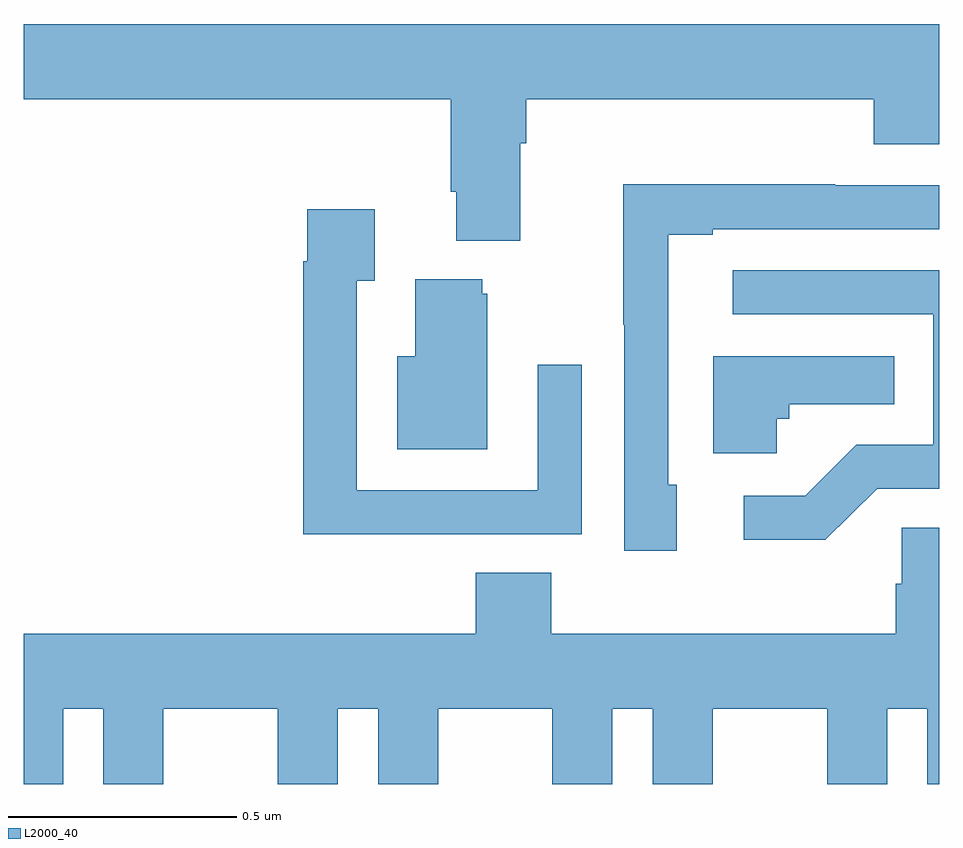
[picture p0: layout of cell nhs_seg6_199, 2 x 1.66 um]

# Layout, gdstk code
import gdstk
lib = gdstk.Library(unit=1e-6, precision=1e-09)
def P(c, l, *ps):  # polygons
    for p in ps: c.add(gdstk.Polygon(p, *l))
L2000_40 = (2000, 40)

nhs_seg6_199 = lib.new_cell('nhs_seg6_199')
P(nhs_seg6_199, L2000_40, [(114.085,953.9),(114.098,953.9),(114.098,953.996),(114.857,953.996),(114.857,953.897),(115,953.897),(115,954.16),(113,954.16),(113,953.996),(113.933,953.996),(113.933,953.794),(113.945,953.794),(113.945,953.687),(114.085,953.687)],
  [(114.427,953.154),(114.408,953.154),(114.408,953.7),(114.505,953.7),(114.505,953.712),(115,953.712),(115,953.808),(114.773,953.808),(114.773,953.81),(114.31,953.81),(114.31,953.503),(114.312,953.503),(114.312,953.01),(114.427,953.01)],
  [(113.903,953.046),(114.219,953.046),(114.219,953.416),(114.123,953.416),(114.123,953.142),(113.727,953.142),(113.727,953.599),(113.767,953.599),(113.767,953.755),(113.619,953.755),(113.619,953.642),(113.611,953.642),(113.611,953.045),(113.903,953.045)],
  [(114.864,953.145),(115,953.145),(115,953.622),(114.549,953.622),(114.549,953.526),(114.987,953.526),(114.987,953.241),(114.818,953.241),(114.707,953.13),(114.573,953.13),(114.573,953.033),(114.751,953.033)],
  [(114.013,953.571),(114.002,953.571),(114.002,953.602),(113.855,953.602),(113.855,953.434),(113.816,953.434),(113.816,953.231),(114.013,953.231)],
  [(114.645,953.298),(114.672,953.298),(114.672,953.33),(114.902,953.33),(114.902,953.434),(114.506,953.434),(114.506,953.222),(114.645,953.222)],
  [(113.086,952.664),(113.174,952.664),(113.174,952.5),(113.305,952.5),(113.305,952.664),(113.555,952.664),(113.555,952.5),(113.686,952.5),(113.686,952.664),(113.774,952.664),(113.774,952.5),(113.905,952.5),(113.905,952.664),(114.155,952.664),(114.155,952.5),(114.286,952.5),(114.286,952.664),(114.374,952.664),(114.374,952.5),(114.505,952.5),(114.505,952.664),(114.755,952.664),(114.755,952.5),(114.886,952.5),(114.886,952.664),(114.974,952.664),(114.974,952.5),(115,952.5),(115,953.06),(114.918,953.06),(114.918,952.937),(114.905,952.937),(114.905,952.828),(114.152,952.828),(114.152,952.961),(113.987,952.961),(113.987,952.828),(113,952.828),(113,952.5),(113.086,952.5)])

lib.write_gds('nhs_seg6_199.gds')
